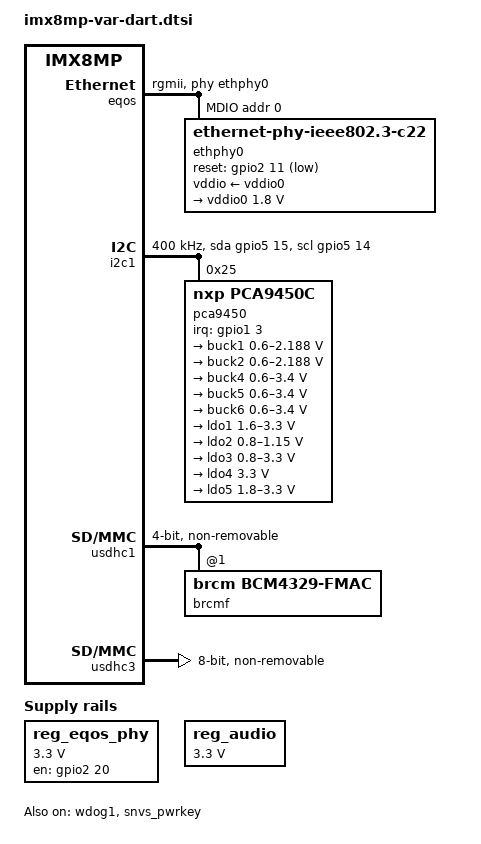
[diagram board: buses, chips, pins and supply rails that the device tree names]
// SPDX-License-Identifier: (GPL-2.0+ OR MIT)
/*
 * Copyright 2019 NXP
 * Copyright 2020-2021 Variscite Ltd.
 */

/dts-v1/;

#include <dt-bindings/usb/pd.h>
#include <arm64/freescale/imx8mp.dtsi>
#include "imx8mp.dtsi"

/ {
	compatible = "variscite,imx8mp-var-dart", "fsl,imx8mp";
	barebox,deep-probe;

	aliases {
		ethernet0 = &eqos;
		ethernet1 = &fec;
	};

	reg_eqos_phy: regulator-eqos-phy {
		compatible = "regulator-fixed";
		regulator-name = "eqos-phy";
		regulator-min-microvolt = <3300000>;
		regulator-max-microvolt = <3300000>;
		regulator-enable-ramp-delay = <20000>;
		gpio = <&gpio2 20 GPIO_ACTIVE_HIGH>;
		enable-active-high;
		regulator-always-on;
	};

	reg_audio: regulator-audio-vdd {
		compatible = "regulator-fixed";
		regulator-name = "wm8904_supply";
		regulator-min-microvolt = <3300000>;
		regulator-max-microvolt = <3300000>;
		regulator-always-on;
	};
};

&A53_0 {
	cpu-supply = <&buck2>;
};

&A53_1 {
	cpu-supply = <&buck2>;
};

&A53_2 {
	cpu-supply = <&buck2>;
};

&A53_3 {
	cpu-supply = <&buck2>;
};

&eqos {
	pinctrl-names = "default";
	pinctrl-0 = <&pinctrl_eqos>;
	phy-mode = "rgmii";
	phy-handle = <&ethphy0>;
	status = "okay";

	mdio {
		compatible = "snps,dwmac-mdio";
		#address-cells = <1>;
		#size-cells = <0>;

		ethphy0: ethernet-phy@0 {
			compatible = "ethernet-phy-ieee802.3-c22";
			reg = <0>;
			at803x,eee-disabled;
			eee-broken-1000t;
			reset-gpios = <&gpio2 11 GPIO_ACTIVE_LOW>;
			reset-assert-us = <10000>;
			reset-deassert-us = <20000>;
			vddio-supply = <&vddio0>;

			vddio0: vddio-regulator {
				regulator-min-microvolt = <1800000>;
				regulator-max-microvolt = <1800000>;
			};
		};
	};
};

&i2c1 {
	clock-frequency = <400000>;
	pinctrl-names = "default", "gpio";
	pinctrl-0 = <&pinctrl_i2c1>;
	pinctrl-1 = <&pinctrl_i2c1_gpio>;
	scl-gpios = <&gpio5 14 GPIO_ACTIVE_HIGH>;
	sda-gpios = <&gpio5 15 GPIO_ACTIVE_HIGH>;
	status = "okay";

	pca9450@25 {
		reg = <0x25>;
		compatible = "nxp,pca9450c";
		pinctrl-names = "default";
		pinctrl-0 = <&pinctrl_pmic>;
		interrupt-parent = <&gpio1>;
		interrupts = <3 IRQ_TYPE_LEVEL_LOW>;

		regulators {
			#address-cells = <1>;
			#size-cells = <0>;

			buck1: BUCK1 {
				regulator-name = "BUCK1";
				regulator-min-microvolt = <600000>;
				regulator-max-microvolt = <2187500>;
				regulator-boot-on;
				regulator-always-on;
				regulator-ramp-delay = <3125>;
			};

			buck2: BUCK2 {
				regulator-name = "BUCK2";
				regulator-min-microvolt = <600000>;
				regulator-max-microvolt = <2187500>;
				regulator-boot-on;
				regulator-always-on;
				regulator-ramp-delay = <3125>;
				nxp,dvs-run-voltage = <950000>;
				nxp,dvs-standby-voltage = <850000>;
			};

			buck4: BUCK4 {
				regulator-name = "BUCK4";
				regulator-min-microvolt = <600000>;
				regulator-max-microvolt = <3400000>;
				regulator-boot-on;
				regulator-always-on;
			};

			buck5: BUCK5 {
				regulator-name = "BUCK5";
				regulator-min-microvolt = <600000>;
				regulator-max-microvolt = <3400000>;
				regulator-boot-on;
				regulator-always-on;
			};

			buck6: BUCK6 {
				regulator-name = "BUCK6";
				regulator-min-microvolt = <600000>;
				regulator-max-microvolt = <3400000>;
				regulator-boot-on;
				regulator-always-on;
			};

			ldo1: LDO1 {
				regulator-name = "LDO1";
				regulator-min-microvolt = <1600000>;
				regulator-max-microvolt = <3300000>;
				regulator-boot-on;
				regulator-always-on;
			};

			ldo2: LDO2 {
				regulator-name = "LDO2";
				regulator-min-microvolt = <800000>;
				regulator-max-microvolt = <1150000>;
				regulator-boot-on;
				regulator-always-on;
			};

			ldo3: LDO3 {
				regulator-name = "LDO3";
				regulator-min-microvolt = <800000>;
				regulator-max-microvolt = <3300000>;
				regulator-boot-on;
				regulator-always-on;
			};

			ldo4: LDO4 {
				regulator-name = "LDO4";
				regulator-min-microvolt = <3300000>;
				regulator-max-microvolt = <3300000>;
				regulator-always-on;
			};

			ldo5: LDO5 {
				regulator-name = "LDO5";
				regulator-min-microvolt = <1800000>;
				regulator-max-microvolt = <3300000>;
			};
		};
	};
};

/* WIFI */
&usdhc1 {
	#address-cells = <1>;
	#size-cells = <0>;
	pinctrl-names = "default", "state_100mhz", "state_200mhz";
	pinctrl-0 = <&pinctrl_usdhc1>, <&pinctrl_wifi>;
	pinctrl-1 = <&pinctrl_usdhc1_100mhz>, <&pinctrl_wifi>;
	pinctrl-2 = <&pinctrl_usdhc1_200mhz>, <&pinctrl_wifi>;
	bus-width = <4>;
	non-removable;
	keep-power-in-suspend;
	status = "okay";

	brcmf: bcrmf@1 {
		reg = <1>;
		compatible = "brcm,bcm4329-fmac";
	};
};

/* eMMC */
&usdhc3 {
	pinctrl-names = "default", "state_100mhz", "state_200mhz";
	pinctrl-0 = <&pinctrl_usdhc3>;
	pinctrl-1 = <&pinctrl_usdhc3_100mhz>;
	pinctrl-2 = <&pinctrl_usdhc3_200mhz>;
	bus-width = <8>;
	non-removable;
	status = "okay";
};

&wdog1 {
	pinctrl-names = "default";
	pinctrl-0 = <&pinctrl_wdog>;
	fsl,ext-reset-output;
	status = "okay";
};

&snvs_pwrkey {
	status = "okay";
};

&iomuxc {
	pinctrl_eqos: eqosgrp {
		fsl,pins = <
			MX8MP_IOMUXC_ENET_MDC__ENET_QOS_MDC				0x2
			MX8MP_IOMUXC_ENET_MDIO__ENET_QOS_MDIO				0x2
			MX8MP_IOMUXC_ENET_RD0__ENET_QOS_RGMII_RD0			0x90
			MX8MP_IOMUXC_ENET_RD1__ENET_QOS_RGMII_RD1			0x90
			MX8MP_IOMUXC_ENET_RD2__ENET_QOS_RGMII_RD2			0x90
			MX8MP_IOMUXC_ENET_RD3__ENET_QOS_RGMII_RD3			0x90
			MX8MP_IOMUXC_ENET_RXC__CCM_ENET_QOS_CLOCK_GENERATE_RX_CLK	0x90
			MX8MP_IOMUXC_ENET_RX_CTL__ENET_QOS_RGMII_RX_CTL			0x90
			MX8MP_IOMUXC_ENET_TD0__ENET_QOS_RGMII_TD0			0x16
			MX8MP_IOMUXC_ENET_TD1__ENET_QOS_RGMII_TD1			0x16
			MX8MP_IOMUXC_ENET_TD2__ENET_QOS_RGMII_TD2			0x16
			MX8MP_IOMUXC_ENET_TD3__ENET_QOS_RGMII_TD3			0x16
			MX8MP_IOMUXC_ENET_TX_CTL__ENET_QOS_RGMII_TX_CTL			0x16
			MX8MP_IOMUXC_ENET_TXC__CCM_ENET_QOS_CLOCK_GENERATE_TX_CLK	0x16
			MX8MP_IOMUXC_SD2_WP__GPIO2_IO20					0x10
			MX8MP_IOMUXC_SD1_STROBE__GPIO2_IO11				0x150
		>;
	};

	pinctrl_i2c1: i2c1grp {
		fsl,pins = <
			MX8MP_IOMUXC_I2C1_SCL__I2C1_SCL					0x400001c2
			MX8MP_IOMUXC_I2C1_SDA__I2C1_SDA					0x400001c2
		>;
	};

	pinctrl_i2c1_gpio: i2c1gpiogrp {
		fsl,pins = <
			MX8MP_IOMUXC_I2C1_SCL__GPIO5_IO14				0x1c2
			MX8MP_IOMUXC_I2C1_SDA__GPIO5_IO15				0x1c2
		>;
	};

	pinctrl_pmic: pmicgrp {
		fsl,pins = <
			MX8MP_IOMUXC_GPIO1_IO03__GPIO1_IO03				0x1c0
		>;
	};

	pinctrl_sai3: sai3grp {
		fsl,pins = <
			MX8MP_IOMUXC_SAI3_TXFS__AUDIOMIX_SAI3_TX_SYNC			0xd6
			MX8MP_IOMUXC_SAI3_TXC__AUDIOMIX_SAI3_TX_BCLK			0xd6
			MX8MP_IOMUXC_SAI3_RXD__AUDIOMIX_SAI3_RX_DATA00			0xd6
			MX8MP_IOMUXC_SAI3_TXD__AUDIOMIX_SAI3_TX_DATA00			0xd6
			MX8MP_IOMUXC_SAI3_MCLK__AUDIOMIX_SAI3_MCLK			0xd6
			MX8MP_IOMUXC_SAI3_RXFS__AUDIOMIX_SAI3_RX_SYNC			0xd6
			MX8MP_IOMUXC_SAI3_RXC__AUDIOMIX_SAI3_RX_BCLK			0xd6
		>;
	};

	pinctrl_usdhc1: usdhc1grp {
		fsl,pins = <
			MX8MP_IOMUXC_SD1_CLK__USDHC1_CLK				0x190
			MX8MP_IOMUXC_SD1_CMD__USDHC1_CMD				0x1d0
			MX8MP_IOMUXC_SD1_DATA0__USDHC1_DATA0				0x1d0
			MX8MP_IOMUXC_SD1_DATA1__USDHC1_DATA1				0x1d0
			MX8MP_IOMUXC_SD1_DATA2__USDHC1_DATA2				0x1d0
			MX8MP_IOMUXC_SD1_DATA3__USDHC1_DATA3				0x1d0
		>;
	};

	pinctrl_usdhc1_100mhz: usdhc1grp-100mhz {
		fsl,pins = <
			MX8MP_IOMUXC_SD1_CLK__USDHC1_CLK				0x194
			MX8MP_IOMUXC_SD1_CMD__USDHC1_CMD				0x1d4
			MX8MP_IOMUXC_SD1_DATA0__USDHC1_DATA0				0x1d4
			MX8MP_IOMUXC_SD1_DATA1__USDHC1_DATA1				0x1d4
			MX8MP_IOMUXC_SD1_DATA2__USDHC1_DATA2				0x1d4
			MX8MP_IOMUXC_SD1_DATA3__USDHC1_DATA3				0x1d4
		>;
	};

	pinctrl_usdhc1_200mhz: usdhc1grp-200mhz {
		fsl,pins = <
			MX8MP_IOMUXC_SD1_CLK__USDHC1_CLK				0x196
			MX8MP_IOMUXC_SD1_CMD__USDHC1_CMD				0x1d6
			MX8MP_IOMUXC_SD1_DATA0__USDHC1_DATA0				0x1d6
			MX8MP_IOMUXC_SD1_DATA1__USDHC1_DATA1				0x1d6
			MX8MP_IOMUXC_SD1_DATA2__USDHC1_DATA2				0x1d6
			MX8MP_IOMUXC_SD1_DATA3__USDHC1_DATA3				0x1d6
		>;
	};

	pinctrl_usdhc3: usdhc3grp {
		fsl,pins = <
			MX8MP_IOMUXC_NAND_WE_B__USDHC3_CLK				0x190
			MX8MP_IOMUXC_NAND_WP_B__USDHC3_CMD				0x1d0
			MX8MP_IOMUXC_NAND_DATA04__USDHC3_DATA0				0x1d0
			MX8MP_IOMUXC_NAND_DATA05__USDHC3_DATA1				0x1d0
			MX8MP_IOMUXC_NAND_DATA06__USDHC3_DATA2				0x1d0
			MX8MP_IOMUXC_NAND_DATA07__USDHC3_DATA3				0x1d0
			MX8MP_IOMUXC_NAND_RE_B__USDHC3_DATA4				0x1d0
			MX8MP_IOMUXC_NAND_CE2_B__USDHC3_DATA5				0x1d0
			MX8MP_IOMUXC_NAND_CE3_B__USDHC3_DATA6				0x1d0
			MX8MP_IOMUXC_NAND_CLE__USDHC3_DATA7				0x1d0
			MX8MP_IOMUXC_NAND_CE1_B__USDHC3_STROBE				0x190
		>;
	};

	pinctrl_usdhc3_100mhz: usdhc3grp-100mhz {
		fsl,pins = <
			MX8MP_IOMUXC_NAND_WE_B__USDHC3_CLK				0x194
			MX8MP_IOMUXC_NAND_WP_B__USDHC3_CMD				0x1d4
			MX8MP_IOMUXC_NAND_DATA04__USDHC3_DATA0				0x1d4
			MX8MP_IOMUXC_NAND_DATA05__USDHC3_DATA1				0x1d4
			MX8MP_IOMUXC_NAND_DATA06__USDHC3_DATA2				0x1d4
			MX8MP_IOMUXC_NAND_DATA07__USDHC3_DATA3				0x1d4
			MX8MP_IOMUXC_NAND_RE_B__USDHC3_DATA4				0x1d4
			MX8MP_IOMUXC_NAND_CE2_B__USDHC3_DATA5				0x1d4
			MX8MP_IOMUXC_NAND_CE3_B__USDHC3_DATA6				0x1d4
			MX8MP_IOMUXC_NAND_CLE__USDHC3_DATA7				0x1d4
			MX8MP_IOMUXC_NAND_CE1_B__USDHC3_STROBE				0x194
		>;
	};

	pinctrl_usdhc3_200mhz: usdhc3grp-200mhz {
		fsl,pins = <
			MX8MP_IOMUXC_NAND_WE_B__USDHC3_CLK				0x196
			MX8MP_IOMUXC_NAND_WP_B__USDHC3_CMD				0x1d6
			MX8MP_IOMUXC_NAND_DATA04__USDHC3_DATA0				0x1d6
			MX8MP_IOMUXC_NAND_DATA05__USDHC3_DATA1				0x1d6
			MX8MP_IOMUXC_NAND_DATA06__USDHC3_DATA2				0x1d6
			MX8MP_IOMUXC_NAND_DATA07__USDHC3_DATA3				0x1d6
			MX8MP_IOMUXC_NAND_RE_B__USDHC3_DATA4				0x1d6
			MX8MP_IOMUXC_NAND_CE2_B__USDHC3_DATA5				0x1d6
			MX8MP_IOMUXC_NAND_CE3_B__USDHC3_DATA6				0x1d6
			MX8MP_IOMUXC_NAND_CLE__USDHC3_DATA7				0x1d6
			MX8MP_IOMUXC_NAND_CE1_B__USDHC3_STROBE				0x196
		>;
	};

	pinctrl_wdog: wdoggrp {
		fsl,pins = <
			MX8MP_IOMUXC_GPIO1_IO02__WDOG1_WDOG_B				0xc6
		>;
	};

	pinctrl_wifi: wifigrp {
		fsl,pins = <
			MX8MP_IOMUXC_SD1_DATA5__GPIO2_IO07				0xc0 /* WIFI_EN  */
			MX8MP_IOMUXC_SD1_DATA6__GPIO2_IO08				0xc0 /* WIFI_PWR */
		>;
	};

	pinctrl_bt: btgrp {
		fsl,pins = <
			MX8MP_IOMUXC_SD1_DATA4__GPIO2_IO06				0xc0 /* BT_EN  */
			MX8MP_IOMUXC_SD1_DATA7__GPIO2_IO09				0xc0 /* BT_BUF */
		>;
	};
};
